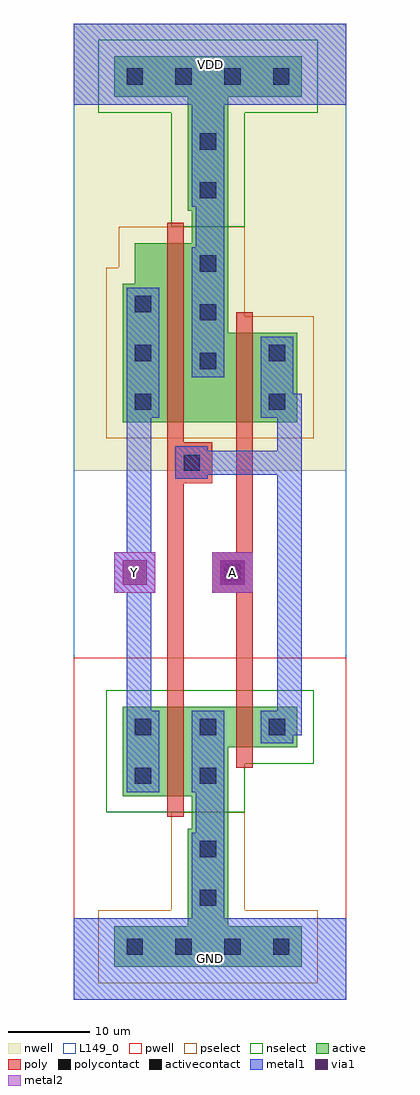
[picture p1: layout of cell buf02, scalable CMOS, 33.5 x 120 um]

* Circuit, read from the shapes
.subckt buf02 A GND VDD Y
M1 GND n1 Y GND nfet w=11u l=2u
M2 n1 A GND GND nfet w=5u l=2u
M3 VDD n1 Y VDD pfet w=22u l=2u
M4 n1 A VDD VDD pfet w=11u l=2u
.ends

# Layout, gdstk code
from math import pi, radians
import gdstk
lib = gdstk.Library(unit=1e-6, precision=1e-09)
def R(c, l, rs):  # rectangles x0, y0, x1, y1
    for r in rs: c.add(gdstk.rectangle(r[:2], r[2:], *l))
def A(c, l, x, y, w, h, nx, ny, dx, dy):  # array of equal rectangles
    R(c, l, [(x+i*dx, y+j*dy, x+i*dx+w, y+j*dy+h) for i in range(nx) for j in range(ny)])
def P(c, l, *ps):  # polygons
    for p in ps: c.add(gdstk.Polygon(p, *l))
pwell = (41, 0)
nwell = (42, 0)
active = (43, 0)
pselect = (44, 0)
nselect = (45, 0)
poly = (46, 0)
polycontact = (47, 0)
activecontact = (48, 0)
metal1 = (49, 0)
via1 = (50, 0)
metal2 = (51, 0)
L149_0 = (149, 0)

via = lib.new_cell('via')
R(via, metal1, [(-2.5,-2.5,2.5,2.5)])
R(via, via1, [(-1.5,-1.5,1.5,1.5)])
R(via, metal2, [(-2.5,-2.5,2.5,2.5)])

buf02 = lib.new_cell('buf02')
R(buf02, pwell, [(0,0,33.5,42)])
P(buf02, pwell, [(25,19),(25,25),(33.5,25),(33.5,42),(0,42),(0,19)])
R(buf02, nwell, [(0,65,33.5,120)])
P(buf02, nwell, [(0,65),(0,94),(1.5,94),(1.5,99),(25,99),(25,88),(33.5,88),(33.5,65)])
R(buf02, active, [(5,4,28,9), (14,9,19,21), (14.5,21,19,25), (6,25,11.5,36), (22,31,27.5,36), (22,71,27.5,82), (14.5,93,19,97), (14,97,19,111), (5,111,28,116)])
P(buf02, active, [(6,71),(6,88),(7.5,88),(7.5,93),(19,93),(19,82),(27.5,82),(27.5,71)],
  [(6,71),(6,88),(7.5,88),(7.5,93),(11.5,93),(11.5,71)],
  [(19,25),(19,31),(27.5,31),(27.5,36),(6,36),(6,25)])
R(buf02, pselect, [(3,2,30,11), (12,11,21,23)])
P(buf02, pselect, [(4,69),(4,90),(5.5,90),(5.5,95),(21,95),(21,84),(29.5,84),(29.5,69)])
R(buf02, nselect, [(12,95,21,109), (3,109,30,118)])
P(buf02, nselect, [(21,23),(21,29),(29.5,29),(29.5,38),(4,38),(4,23)])
R(buf02, poly, [(11.5,22.5,13.5,25), (11.5,25,13.5,36), (20,28.5,22,31), (20,31,22,36), (11.5,36,13.5,38.5), (20,36,22,38.5), (17,50,22,55), (12,63.5,17,68.5), (11.5,68.5,13.5,71), (20,68.5,22,71), (11.5,71,13.5,93), (20,71,22,82), (20,82,22,84.5), (11.5,93,13.5,95.5)])
R(buf02, polycontact, [(18.5,51.5,20.5,53.5), (13.5,65,15.5,67)])
A(buf02, activecontact, 6.5, 5.5, 2, 2, 4, 2, 6, 107)
A(buf02, activecontact, 7.5, 72.5, 2, 2, 1, 3, 0, 6)
A(buf02, activecontact, 15.5, 77.5, 2, 2, 1, 3, 0, 6)
R(buf02, activecontact, [(15.5,11.5,17.5,13.5), (15.5,17.5,17.5,19.5), (7.5,26.5,9.5,28.5), (15.5,26.5,17.5,28.5), (7.5,32.5,9.5,34.5), (15.5,32.5,17.5,34.5), (24,32.5,26,34.5), (24,72.5,26,74.5), (24,78.5,26,80.5), (15.5,98.5,17.5,100.5), (15.5,104.5,17.5,106.5)])
R(buf02, metal1, [(0,0,33.5,10), (14.5,10,18.5,20.5), (15,20.5,18.5,25.5), (6.5,25.5,10.5,35.5), (14.5,25.5,18.5,35.5), (23,31.5,27,35.5), (17.5,50.5,21.5,54.5), (12.5,64,16.5,68), (6.5,71.5,10.5,87.5), (23,71.5,27,81.5), (14.5,76.5,18.5,92.5), (15,92.5,18.5,97.5), (14.5,97.5,18.5,110), (0,110,33.5,120)])
R(buf02, metal2, [(5,50,10,55), (17,50,22,55)])
R(buf02, L149_0, [(0,0,33.5,120)])
buf02.add(gdstk.FlexPath([(26.5,32.5),(26.5,74.5)], 3, ends="flush", simple_path=True, layer=49, datatype=0))  # metal1
buf02.add(gdstk.FlexPath([(8,71.5),(8,55)], 3, ends="flush", simple_path=True, layer=49, datatype=0))  # metal1
buf02.add(gdstk.FlexPath([(8,50),(8,35.5)], 3, ends="flush", simple_path=True, layer=49, datatype=0))  # metal1
buf02.add(gdstk.FlexPath([(16.5,66),(25,66)], 3, ends="flush", simple_path=True, layer=49, datatype=0))  # metal1
buf02.add(gdstk.FlexPath([(21,68.5),(21,55)], 2, ends="flush", simple_path=True, layer=46, datatype=0))  # poly
buf02.add(gdstk.FlexPath([(12.5,68.5),(12.5,38.5)], 2, ends="flush", simple_path=True, layer=46, datatype=0))  # poly
buf02.add(gdstk.FlexPath([(21,38.5),(21,50)], 2, ends="flush", simple_path=True, layer=46, datatype=0))  # poly
buf02.add(gdstk.Reference(via, (19.5,52.5), rotation=pi/2))
buf02.add(gdstk.Reference(via, (7.5,52.5)))
buf02.add(gdstk.Label('GND', (16.75,5), layer=2, texttype=0))
buf02.add(gdstk.Label('VDD', (16.75,115), layer=2, texttype=0))
buf02.add(gdstk.Label('Y', (7.5,52.5), layer=3, texttype=0))
buf02.add(gdstk.Label('A', (19.5,52.5), layer=3, texttype=0))
buf02.add(gdstk.Label('GND', (16.75,5), layer=2, texttype=0))
buf02.add(gdstk.Label('VDD', (16.75,115), layer=2, texttype=0))
buf02.add(gdstk.Label('Y', (7.5,52.5), layer=3, texttype=0))
buf02.add(gdstk.Label('A', (19.5,52.5), layer=3, texttype=0))

lib.write_gds('buf02.gds')
